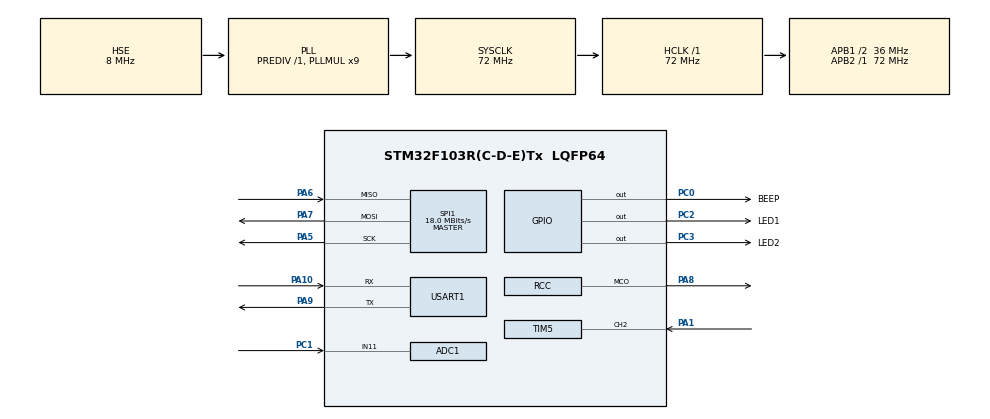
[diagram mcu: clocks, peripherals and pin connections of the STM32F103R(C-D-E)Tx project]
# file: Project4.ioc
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Mcu.Family=STM32F1
VP_TIM5_VS_ClockSourceINT.Mode=Internal
FATFS._NORTC_MDAY=31
PA6.Mode=Full_Duplex_Master
VP_SYS_VS_tim6.Mode=TIM6
FATFS._USE_LFN=2
SPI1.VirtualType=VM_MASTER
VP_ADC1_TempSens_Input.Mode=IN-TempSens
ADC1.ContinuousConvMode=ENABLE
SH.S_TIM5_CH2.0=TIM5_CH2,Input_Capture2_from_TI2
PC0.GPIO_Label=BEEP
FATFS._NORTC_YEAR=2021
RCC.SYSCLKSource=RCC_SYSCLKSOURCE_PLLCLK
ProjectManager.StackSize=0x1600
PD1-OSC_OUT.Signal=RCC_OSC_OUT
SPI1.CLKPolarity=SPI_POLARITY_HIGH
FREERTOS.configUSE_STATS_FORMATTING_FUNCTIONS=1
SPI1.Direction=SPI_DIRECTION_2LINES
RCC.HCLKFreq_Value=72000000
RCC.APB2TimFreq_Value=72000000
Dma.ADC1.0.Direction=DMA_PERIPH_TO_MEMORY
SPI1.CalculateBaudRate=18.0 MBits/s
PC3.Signal=GPIO_Output
FREERTOS.configQUEUE_REGISTRY_SIZE=10
Dma.ADC1.0.MemDataAlignment=DMA_MDATAALIGN_HALFWORD
RCC.AHBFreq_Value=72000000
ADC1.Channel-0\#ChannelRegularConversion=ADC_CHANNEL_TEMPSENSOR
RCC.PLLMUL=RCC_PLL_MUL9
FREERTOS.INCLUDE_xQueueGetMutexHolder=0
PA14.Mode=Serial_Wire
FREERTOS.HEAP_NUMBER=3
Dma.ADC1.0.PeriphInc=DMA_PINC_DISABLE
FATFS._NORTC_MON=1
PA8.Signal=RCC_MCO
FREERTOS.INCLUDE_vTaskCleanUpResources=1
VP_FREERTOS_VS_CMSIS_V1.Mode=CMSIS_V1
ADC1.SamplingTime-0\#ChannelRegularConversion=ADC_SAMPLETIME_55CYCLES_5
FREERTOS.configTOTAL_HEAP_SIZE=16384
Mcu.Package=LQFP64
PA6.Signal=SPI1_MISO
FREERTOS.configUSE_NEWLIB_REENTRANT=0
NVIC.TimeBase=TIM6_IRQn
NVIC.TimeBaseIP=TIM6
PA10.Signal=USART1_RX
FATFS._FS_LOCK=0
TIM5.ICFilter_CH2=3
RCC.APB1TimFreq_Value=72000000
Dma.Request0=ADC1
SPI1.BaudRatePrescaler=SPI_BAUDRATEPRESCALER_4
PC2.GPIO_Label=LED1
PA5.Mode=Full_Duplex_Master
RCC.PLLSourceVirtual=RCC_PLLSOURCE_HSE
Dma.ADC1.0.Instance=DMA1_Channel1
FREERTOS.Tasks01=defaultTask,0,128,StartDefaultTask,Default,NULL,Dynamic,NULL,NULL;LED1Task,-2,128,LED1_Task,Default,NULL,Dynamic,NULL,NULL;LCDTask01,3,128,LCD_Task1,Default,NULL,Dynamic,NULL,NULL;LCDTask02,3,128,LCD_Task2,Default,NULL,Dynamic,NULL,NULL;BeepTask,3,128,Beep_Task,Default,NULL,Dynamic,NULL,NULL;LED2Task,-2,128,LED2_Task,Default,NULL,Dynamic,NULL,NULL;TPADTask,3,128,TPAD_Task,Default,NULL,Dynamic,NULL,NULL;LCDTask03,3,128,LCD_Task3,Default,NULL,Dynamic,NULL,NULL
ADC1.Rank-0\#ChannelRegularConversion=1
PA7.Mode=Full_Duplex_Master
PD1-OSC_OUT.Mode=HSE-External-Oscillator
PA10.Mode=Asynchronous
PC2.Signal=GPIO_Output
SPI1.CLKPhase=SPI_PHASE_2EDGE
PD0-OSC_IN.Signal=RCC_OSC_IN
PC0.Signal=GPIO_Output
RCC.APB1CLKDivider=RCC_HCLK_DIV2
FREERTOS.INCLUDE_uxTaskGetStackHighWaterMark=0
NVIC.TIM6_IRQn=true\:0\:0\:false\:false\:true\:false\:false\:true
TIM5.Channel-Input_Capture2_from_TI2=TIM_CHANNEL_2
RCC.ADCPresc=RCC_ADCPCLK2_DIV6
PA13.Signal=SYS_JTMS-SWDIO
Dma.ADC1.0.PeriphDataAlignment=DMA_PDATAALIGN_HALFWORD
PA9.Mode=Asynchronous
FREERTOS.configMAX_PRIORITIES=32
ProjectManager.TargetToolchain=SW4STM32
FREERTOS.configUSE_TRACE_FACILITY=0
Dma.ADC1.0.Mode=DMA_CIRCULAR
FATFS._CODE_PAGE=437
Dma.ADC1.0.Priority=DMA_PRIORITY_HIGH
PA9.Signal=USART1_TX
ADC1.Channel-1\#ChannelRegularConversion=ADC_CHANNEL_11
RCC.USBFreq_Value=72000000
PA1.Signal=S_TIM5_CH2
VP_FATFS_VS_Generic.Mode=User_defined
PD0-OSC_IN.Mode=HSE-External-Oscillator
PA5.Signal=SPI1_SCK
FREERTOS.MEMORY_ALLOCATION=0
board=custom
FATFS._USE_FASTSEEK=0
FATFS._FS_NORTC=1
RCC.APB2Freq_Value=72000000
SH.ADCx_IN11.0=ADC1_IN11,IN11
SPI1.Mode=SPI_MODE_MASTER
RCC.RCC_MCOSource=RCC_MCO1SOURCE_PLLCLK
ADC1.NbrOfConversion=2
PA13.Mode=Serial_Wire
Mcu.Name=STM32F103R(C-D-E)Tx
FREERTOS.INCLUDE_xTaskResumeFromISR=0
FATFS._MAX_SS=4096
PA4.Signal=SPI1_NSS
ADC1.SamplingTime-1\#ChannelRegularConversion=ADC_SAMPLETIME_55CYCLES_5
RCC.SYSCLKFreq_VALUE=72000000
ADC1.master=1
TIM5.Prescaler=47
USART1.VirtualMode=VM_ASYNC
ADC1.Rank-1\#ChannelRegularConversion=2
Dma.ADC1.0.MemInc=DMA_MINC_ENABLE
PA14.Signal=SYS_JTCK-SWCLK
ProjectManager.HeapSize=0x200
NVIC.PriorityGroup=NVIC_PRIORITYGROUP_4
ADC1.NbrOfConversionFlag=1
PC3.GPIO_Label=LED2
PA8.Mode=Clock-out
NVIC.DMA1_Channel1_IRQn=true\:5\:0\:false\:false\:true\:true\:false\:true
RCC.APB1Freq_Value=36000000
VP_CRC_VS_CRC.Mode=CRC_Activate
PC1.Signal=ADCx_IN11
PA7.Signal=SPI1_MOSI

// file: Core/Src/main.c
/* USER CODE BEGIN Header */
/**
  ******************************************************************************
  * @file           : main.c
  * @brief          : Main program body
  ******************************************************************************
  * @attention
  *
  * <h2><center>&copy; Copyright (c) 2020 STMicroelectronics.
  * All rights reserved.</center></h2>
  *
  * This software component is licensed by ST under Ultimate Liberty license
  * SLA0044, the "License"; You may not use this file except in compliance with
  * the License. You may obtain a copy of the License at:
  *                             www.st.com/SLA0044
  *
  ******************************************************************************
  */
/* USER CODE END Header */
#include "main.h"
#include "cmsis_os.h"
#include "adc.h"
#include "crc.h"
#include "dma.h"
#include "fatfs.h"
#include "spi.h"
#include "tim.h"
#include "usart.h"
#include "gpio.h"

/* USER CODE BEGIN Includes */
#include "lcd.h"
#include "touch_screen.h"
#include <string.h>
/* USER CODE END Includes */

/* USER CODE BEGIN PV */
__IO uint16_t Current_Temperature;
uint32_t ADC_ConvertedValue[2];

char displayBuff[100];
char *pStr;
/* USER CODE END PV */

void SystemClock_Config(void);
void MX_FREERTOS_Init(void);
/* USER CODE BEGIN PFP */
void LCD_Init();
/* USER CODE END PFP */

int main(void)
{

  /* MCU Configuration--------------------------------------------------------*/

  /* Reset of all peripherals, Initializes the Flash interface and the Systick. */
  HAL_Init();

  /* Configure the system clock */
  SystemClock_Config();

  /* Initialize all configured peripherals */
  MX_GPIO_Init();
  MX_DMA_Init();
  MX_USART1_UART_Init();
  MX_ADC1_Init();
  MX_SPI1_Init();
  MX_TIM5_Init();
  MX_FATFS_Init();
  MX_CRC_Init();
  /* USER CODE BEGIN 2 */
  __HAL_SPI_ENABLE(&hspi1);
  ILI9341_Init();
  XPT2046_Init();
  LCD_Init();
  TPAD_Init();
  HAL_ADCEx_Calibration_Start(&hadc1);
  HAL_ADC_Start_DMA(&hadc1, (uint32_t *) &ADC_ConvertedValue, 2);
  /* USER CODE END 2 */

  /* Call init function for freertos objects (in freertos.c) */
  MX_FREERTOS_Init();
  /* Start scheduler */
  osKernelStart();

  /* We should never get here as control is now taken by the scheduler */
  /* Infinite loop */
  while (1)
  {

  }
}

void SystemClock_Config(void)
{
  RCC_OscInitTypeDef RCC_OscInitStruct = {0};
  RCC_ClkInitTypeDef RCC_ClkInitStruct = {0};
  RCC_PeriphCLKInitTypeDef PeriphClkInit = {0};

  /** Initializes the RCC Oscillators according to the specified parameters
  * in the RCC_OscInitTypeDef structure.
  */
  RCC_OscInitStruct.OscillatorType = RCC_OSCILLATORTYPE_HSE;
  RCC_OscInitStruct.HSEState = RCC_HSE_ON;
  RCC_OscInitStruct.HSEPredivValue = RCC_HSE_PREDIV_DIV1;
  RCC_OscInitStruct.HSIState = RCC_HSI_ON;
  RCC_OscInitStruct.PLL.PLLState = RCC_PLL_ON;
  RCC_OscInitStruct.PLL.PLLSource = RCC_PLLSOURCE_HSE;
  RCC_OscInitStruct.PLL.PLLMUL = RCC_PLL_MUL9;
  if (HAL_RCC_OscConfig(&RCC_OscInitStruct) != HAL_OK)
  {
    Error_Handler();
  }
  /** Initializes the CPU, AHB and APB buses clocks
  */
  RCC_ClkInitStruct.ClockType = RCC_CLOCKTYPE_HCLK|RCC_CLOCKTYPE_SYSCLK
                              |RCC_CLOCKTYPE_PCLK1|RCC_CLOCKTYPE_PCLK2;
  RCC_ClkInitStruct.SYSCLKSource = RCC_SYSCLKSOURCE_PLLCLK;
  RCC_ClkInitStruct.AHBCLKDivider = RCC_SYSCLK_DIV1;
  RCC_ClkInitStruct.APB1CLKDivider = RCC_HCLK_DIV2;
  RCC_ClkInitStruct.APB2CLKDivider = RCC_HCLK_DIV1;

  if (HAL_RCC_ClockConfig(&RCC_ClkInitStruct, FLASH_LATENCY_2) != HAL_OK)
  {
    Error_Handler();
  }
  PeriphClkInit.PeriphClockSelection = RCC_PERIPHCLK_ADC;
  PeriphClkInit.AdcClockSelection = RCC_ADCPCLK2_DIV6;
  if (HAL_RCCEx_PeriphCLKConfig(&PeriphClkInit) != HAL_OK)
  {
    Error_Handler();
  }
  HAL_RCC_MCOConfig(RCC_MCO, RCC_MCO1SOURCE_PLLCLK, RCC_MCODIV_1);
}

/* USER CODE BEGIN 4 */
/**
  * @brief  This function is executed in case of error occurrence.
  * @retval None
  */
void LCD_Init()
{
  LCD_SetFont(&Font8x16);
  LCD_SetColors(MAGENTA, BLACK);
  ILI9341_Clear(0, 0, LCD_X_LENGTH, LCD_Y_LENGTH);

  ILI9341_DispStringLine_EN_CH(LINE(2), "Platform: STM32F103RCTx");
  ILI9341_DispStringLine_EN_CH(LINE(3), "LCD: 3.2inch");
  ILI9341_DispStringLine_EN_CH(LINE(4), "Screen solution: 240x320 px");
  ILI9341_DispStringLine_EN_CH(LINE(5), "Driven by ILI9341");

  sprintf(displayBuff, "Flash ID: 0x%lX", SPI_FLASH_ReadID());
  LCD_ClearLine(6);
  ILI9341_DispStringLine_EN(LINE(6), displayBuff);

  sprintf(displayBuff, "LCD ID: 0x%X", ILI9341_Read_ID());
  LCD_ClearLine(7);
  ILI9341_DispStringLine_EN(LINE(7), displayBuff);

  LCD_SetFont(&Font8x16);
  LCD_SetTextColor(MAGENTA);
  pStr = "Written by AngelBeats";
  sprintf(displayBuff, "%*c%s", ((LCD_X_LENGTH / (((sFONT *) LCD_GetFont())->Width)) - strlen(pStr)) / 2, ' ', pStr);
  LCD_ClearLine(LINE(16));
  ILI9341_DispStringLine_EN(LINE(16), displayBuff);

  LCD_SetTextColor(MAGENTA);
  pStr = "@Rhodes Island";
  sprintf(displayBuff, "%*c%s", ((LCD_X_LENGTH / (((sFONT *) LCD_GetFont())->Width)) - strlen(pStr)) / 2, ' ', pStr);
  LCD_ClearLine(LINE(18));
  ILI9341_DispStringLine_EN(LINE(18), displayBuff);
}
/* USER CODE END 4 */

 /**
  * @brief  Period elapsed callback in non blocking mode
  * @note   This function is called  when TIM6 interrupt took place, inside
  * HAL_TIM_IRQHandler(). It makes a direct call to HAL_IncTick() to increment
  * a global variable "uwTick" used as application time base.
  * @param  htim : TIM handle
  * @retval None
  */
void HAL_TIM_PeriodElapsedCallback(TIM_HandleTypeDef *htim)
{
  if (htim->Instance == TIM6) {
    HAL_IncTick();
  }
}

void Error_Handler(void)
{
  /* USER CODE BEGIN Error_Handler_Debug */
  /* User can add his own implementation to report the HAL error return state */
  __disable_irq();
  while (1)
  {
    HAL_GPIO_TogglePin(LED1_GPIO_Port, LED1_Pin);
    osDelay(200);
  }
  /* USER CODE END Error_Handler_Debug */
}

/************************ (C) COPYRIGHT STMicroelectronics *****END OF FILE****/

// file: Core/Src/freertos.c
/* USER CODE BEGIN Header */
/**
  ******************************************************************************
  * File Name          : freertos.c
  * Description        : Code for freertos applications
  ******************************************************************************
  * @attention
  *
  * <h2><center>&copy; Copyright (c) 2020 STMicroelectronics.
  * All rights reserved.</center></h2>
  *
  * This software component is licensed by ST under Ultimate Liberty license
  * SLA0044, the "License"; You may not use this file except in compliance with
  * the License. You may obtain a copy of the License at:
  *                             www.st.com/SLA0044
  *
  ******************************************************************************
  */
/* USER CODE END Header */

#include "FreeRTOS.h"
#include "task.h"
#include "main.h"
#include "cmsis_os.h"

/* USER CODE BEGIN Includes */
#include "usart.h"
#include "lcd.h"
#include "tim.h"
#include "touch_screen.h"
/* USER CODE END Includes */

/* USER CODE BEGIN Variables */
extern __IO uint16_t Current_Temperature;
extern uint16_t ADC_ConvertedValue[2];
char buff0[30];
char buff1[30];
char flag;
char everDisplay = 0;
__IO float adcValue;
/* USER CODE END Variables */
osThreadId defaultTaskHandle;
osThreadId LED1TaskHandle;
osThreadId LCDTask01Handle;
osThreadId LCDTask02Handle;
osThreadId BeepTaskHandle;
osThreadId LED2TaskHandle;
osThreadId TPADTaskHandle;
osThreadId LCDTask03Handle;

void StartDefaultTask(void const *argument);

void LED1_Task(void const *argument);

void LCD_Task1(void const *argument);

void LCD_Task2(void const *argument);

void Beep_Task(void const *argument);

void LED2_Task(void const *argument);

void TPAD_Task(void const *argument);

void LCD_Task3(void const *argument);

void MX_FREERTOS_Init(void); /* (MISRA C 2004 rule 8.1) */

void MX_FREERTOS_Init(void)
{

  /* Create the thread(s) */
  /* definition and creation of defaultTask */
  osThreadDef(defaultTask, StartDefaultTask, osPriorityNormal, 0, 128);
  defaultTaskHandle = osThreadCreate(osThread(defaultTask), NULL);

  /* definition and creation of LED1Task */
  osThreadDef(LED1Task, LED1_Task, osPriorityLow, 0, 128);
  LED1TaskHandle = osThreadCreate(osThread(LED1Task), NULL);

  /* definition and creation of LCDTask01 */
  osThreadDef(LCDTask01, LCD_Task1, osPriorityRealtime + 1, 0, 128);
  LCDTask01Handle = osThreadCreate(osThread(LCDTask01), NULL);

  /* definition and creation of LCDTask02 */
  osThreadDef(LCDTask02, LCD_Task2, osPriorityRealtime + 2, 0, 128);
  LCDTask02Handle = osThreadCreate(osThread(LCDTask02), NULL);

  /* definition and creation of BeepTask */
  osThreadDef(BeepTask, Beep_Task, osPriorityRealtime, 0, 128);
  BeepTaskHandle = osThreadCreate(osThread(BeepTask), NULL);

  /* definition and creation of LED2Task */
  osThreadDef(LED2Task, LED2_Task, osPriorityLow, 0, 128);
  LED2TaskHandle = osThreadCreate(osThread(LED2Task), NULL);

  /* definition and creation of TPADTask */
  osThreadDef(TPADTask, TPAD_Task, osPriorityRealtime, 0, 128);
  TPADTaskHandle = osThreadCreate(osThread(TPADTask), NULL);

  /* definition and creation of LCDTask03 */
  osThreadDef(LCDTask03, LCD_Task3, osPriorityRealtime + 3, 0, 128);
  LCDTask03Handle = osThreadCreate(osThread(LCDTask03), NULL);

}

void StartDefaultTask(void const *argument)
{
  for (;;)
  {
    osDelay(1);
  }
}

/* USER CODE BEGIN Header_LED1_Task */
/**
  * @brief   Function implementing the LED1Task thread.
  * @param   argument: Not used
  * @retval  None
  * @author  AngelBeats
  * @version V1.0
  * @date    2020-12-30
  */
/* USER CODE END Header_LED1_Task */
void LED1_Task(void const *argument)
{
  /* USER CODE BEGIN LED1_Task */
  /* Infinite loop */
  for (;;)
  {
    if (flag == 0)
    {
      HAL_GPIO_TogglePin(LED1_GPIO_Port, LED1_Pin);
    }
    else
    {
      HAL_GPIO_WritePin(LED1_GPIO_Port, LED1_Pin, GPIO_PIN_SET);
    }
    osDelay(500);
  }
  /* USER CODE END LED1_Task */
}

/* USER CODE BEGIN Header_LCD_Task1 */
/**
  * @brief   Function implementing the LCDTask01 thread.
  * @param   argument: Not used
  * @retval  None
  * @author  AngelBeats
  * @version V1.0
  * @date    2020-12-30
  */
/* USER CODE END Header_LCD_Task1 */
void LCD_Task1(void const *argument)
{
  /* USER CODE BEGIN LCD_Task1 */
  /* Infinite loop */
  for (;;)
  {
    Current_Temperature = (1774 - ADC_ConvertedValue[0]) / 5 + 25;
    sprintf(buff0, "Current temperature: %3d `c", Current_Temperature);
    ILI9341_DispStringLine_EN(LINE(10), buff0);

    osDelay(200);
  }
  /* USER CODE END LCD_Task1 */
}

/* USER CODE BEGIN Header_LCD_Task2 */
/**
  * @brief   Function implementing the LCDTask02 thread.
  * @param   argument: Not used
  * @retval  None
  * @version V1.0
  * @date    2020-12-30
  * @note    Traditional printf and sprintf cost too many
  *          stacks to process float numbers. So I choose
  *          turning float to int. If using printf
  *          specially optimized fot embedded project,
  *          it can be avoided.
  */
/* USER CODE END Header_LCD_Task2 */
void LCD_Task2(void const *argument)
{
  /* USER CODE BEGIN LCD_Task2 */
  /* Infinite loop */
  for (;;)
  {
    adcValue = (float) ADC_ConvertedValue[1] / 4096 * 3.3;
    uint16_t units_place, tenth, hundredth, thousandth, ten_thousandth;
    units_place = (uint16_t) adcValue;
    tenth = (uint16_t) (10 * (adcValue - units_place));
    hundredth = (uint16_t) (100 * (adcValue - units_place) - 10 * tenth);
    thousandth = (uint16_t) (1000 * (adcValue - units_place) - 100 * tenth - 10 * hundredth);
    ten_thousandth = (uint16_t) (10000 * (adcValue - units_place) - 1000 * tenth - 100 * hundredth - 10 * thousandth);
    sprintf(buff1, "Current voltage: %1d.%1d%1d%1d%1d V", units_place, tenth, hundredth, thousandth, ten_thousandth);
    ILI9341_DispStringLine_EN(LINE(11), buff1);

    osDelay(200);
  }
  /* USER CODE END LCD_Task2 */
}

/* USER CODE BEGIN Header_Beep_Task */
/**
  * @brief   Function implementing the BeepTask thread.
  * @param   argument: Not used
  * @retval  None
  * @version V1.0
  * @date    2020-12-30
  */
/* USER CODE END Header_Beep_Task */
void Beep_Task(void const *argument)
{
  /* USER CODE BEGIN Beep_Task */
  /* Infinite loop */
  for (;;)
  {
    if (adcValue >= 3.0)
    {
      HAL_GPIO_WritePin(BEEP_GPIO_Port, BEEP_Pin, GPIO_PIN_SET);
      if (everDisplay == 0)
      {
        everDisplay = 1;
        LCD_ClearLine(LINE(12));
        LCD_ClearLine(LINE(13));
        LCD_ClearLine(LINE(14));
      }
      ILI9341_DispStringLine_EN_CH(LINE(13), "Danger! Danger! Danger!");
    }
    else if (adcValue >= 2.0)
    {
      flag = 1;
      HAL_GPIO_WritePin(BEEP_GPIO_Port, BEEP_Pin, GPIO_PIN_RESET);
      if (everDisplay == 1)
      {
        everDisplay = 0;
        LCD_ClearLine(LINE(12));
        LCD_ClearLine(LINE(13));
        LCD_ClearLine(LINE(14));
      }
      ILI9341_DispStringLine_EN_CH(LINE(13), "Alarm! Voltage too high!");
    }
    else
    {
      flag = 0;
      if (everDisplay == 0)
      {
        everDisplay = 1;
        LCD_ClearLine(LINE(13));
      }
    }

    osDelay(100);
  }
  /* USER CODE END Beep_Task */
}

void LED2_Task(void const *argument)
{
  /* USER CODE BEGIN LED2_Task */
  /* Infinite loop */
  for (;;)
  {
    if (flag == 1)
    {
      HAL_GPIO_TogglePin(LED2_GPIO_Port, LED2_Pin);
    }
    else
    {
      HAL_GPIO_WritePin(LED2_GPIO_Port, LED2_Pin, GPIO_PIN_SET);
    }
    osDelay(200);
  }
  /* USER CODE END LED2_Task */
}

void TPAD_Task(void const *argument)
{
  /* USER CODE BEGIN TPAD_Task */
  char TPAD_flag = 0;
  /* Infinite loop */
  for (;;)
  {
    if (TPAD_Scan(1))
    {
      ILI9341_DispStringLine_EN_CH(LINE(14), "TPAD touched!");
      TPAD_flag = 1;
    }
    else
    {
      if (TPAD_flag == 1)
      {
        LCD_ClearLine(LINE(13));
        LCD_ClearLine(LINE(14));
        TPAD_flag = 0;
      }
    }
    osDelay(100);
  }
  /* USER CODE END TPAD_Task */
}

void LCD_Task3(void const *argument)
{
  /* USER CODE BEGIN LCD_Task3 */
  /* Infinite loop */
  for (;;)
  {
    XPT2046_TouchEvenHandler();
    osDelay(10);
  }
  /* USER CODE END LCD_Task3 */
}

/************************ (C) COPYRIGHT STMicroelectronics *****END OF FILE****/
